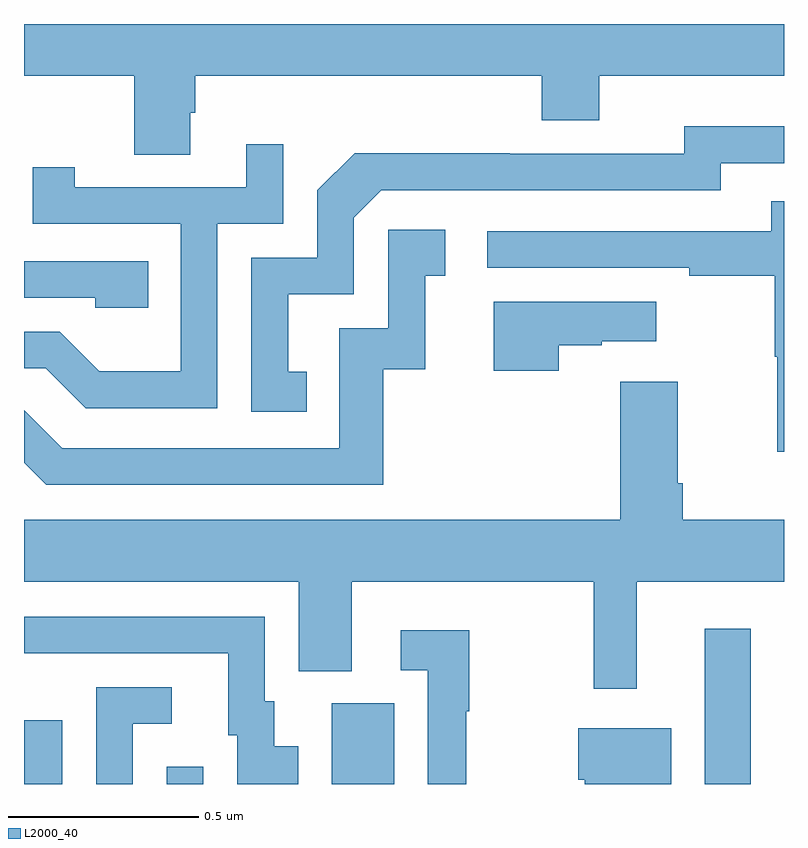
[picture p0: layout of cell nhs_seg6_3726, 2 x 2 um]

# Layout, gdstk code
import gdstk
lib = gdstk.Library(unit=1e-6, precision=1e-09)
def R(c, l, rs):  # rectangles x0, y0, x1, y1
    for r in rs: c.add(gdstk.rectangle(r[:2], r[2:], *l))
def P(c, l, *ps):  # polygons
    for p in ps: c.add(gdstk.Polygon(p, *l))
L2000_40 = (2000, 40)

nhs_seg6_3726 = lib.new_cell('nhs_seg6_3726')
R(nhs_seg6_3726, L2000_40, [(161,917.5,161.101,917.668), (161.376,917.5,161.472,917.545), (161.81,917.5,161.974,917.712), (162.791,917.5,162.913,917.908)])
P(nhs_seg6_3726, L2000_40, [(161.437,919.266),(161.45,919.266),(161.45,919.364),(162.362,919.364),(162.362,919.247),(162.514,919.247),(162.514,919.364),(163,919.364),(163,919.5),(161,919.5),(161,919.364),(161.29,919.364),(161.29,919.156),(161.437,919.156)],
  [(161.744,918.585),(161.695,918.585),(161.695,918.789),(161.868,918.789),(161.868,918.99),(161.94,919.062),(162.834,919.062),(162.834,919.134),(163,919.134),(163,919.231),(162.738,919.231),(162.738,919.158),(162.278,919.158),(162.278,919.16),(161.87,919.16),(161.772,919.062),(161.772,918.885),(161.598,918.885),(161.598,918.48),(161.744,918.48)],
  [(161.508,918.975),(161.682,918.975),(161.682,919.183),(161.585,919.183),(161.585,919.071),(161.134,919.071),(161.134,919.123),(161.023,919.123),(161.023,918.975),(161.412,918.975),(161.412,918.586),(161.198,918.586),(161.094,918.69),(161,918.69),(161,918.594),(161.057,918.594),(161.162,918.489),(161.508,918.489)],
  [(163,919.033),(162.967,919.033),(162.967,918.954),(162.219,918.954),(162.219,918.858),(162.751,918.858),(162.751,918.838),(162.975,918.838),(162.975,918.624),(162.982,918.624),(162.982,918.375),(163,918.375)],
  [(161.945,918.591),(162.056,918.591),(162.056,918.837),(162.109,918.837),(162.109,918.958),(161.958,918.958),(161.958,918.699),(161.829,918.699),(161.829,918.384),(161.1,918.384),(161,918.484),(161,918.346),(161.058,918.288),(161.945,918.288)],
  [(161.327,918.876),(161,918.876),(161,918.78),(161.187,918.78),(161.187,918.753),(161.327,918.753)],
  [(162.407,918.655),(162.521,918.655),(162.521,918.665),(162.664,918.665),(162.664,918.769),(162.236,918.769),(162.236,918.588),(162.407,918.588)],
  [(162.613,918.032),(163,918.032),(163,918.196),(162.734,918.196),(162.734,918.292),(162.721,918.292),(162.721,918.559),(162.569,918.559),(162.569,918.196),(161,918.196),(161,918.032),(161.723,918.032),(161.723,917.797),(161.863,917.797),(161.863,918.032),(162.499,918.032),(162.499,917.751),(162.613,917.751)],
  [(161.722,917.599),(161.659,917.599),(161.659,917.718),(161.634,917.718),(161.634,917.94),(161,917.94),(161,917.844),(161.537,917.844),(161.537,917.628),(161.561,917.628),(161.561,917.5),(161.722,917.5)],
  [(162.164,917.692),(162.172,917.692),(162.172,917.905),(161.991,917.905),(161.991,917.799),(162.063,917.799),(162.063,917.5),(162.164,917.5)],
  [(161.286,917.658),(161.389,917.658),(161.389,917.754),(161.19,917.754),(161.19,917.5),(161.286,917.5)],
  [(162.703,917.647),(162.458,917.647),(162.458,917.511),(162.476,917.511),(162.476,917.5),(162.703,917.5)])

lib.write_gds('nhs_seg6_3726.gds')
